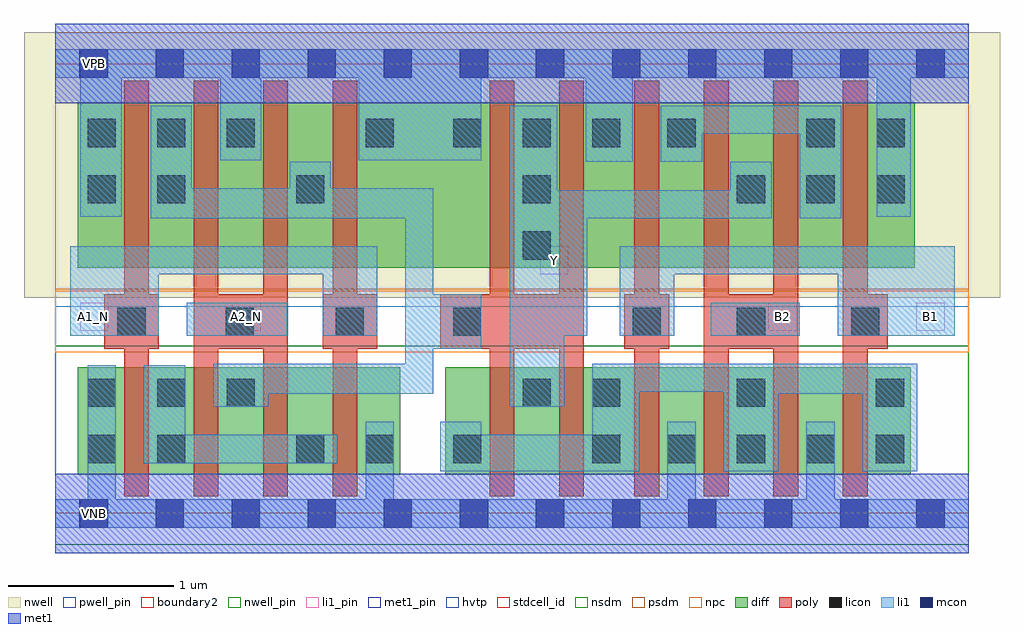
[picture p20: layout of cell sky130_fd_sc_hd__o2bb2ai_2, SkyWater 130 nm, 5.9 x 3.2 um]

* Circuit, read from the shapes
.subckt sky130_fd_sc_hd__o2bb2ai_2 A1_N A2_N B1 B2 VGND VNB VPB VPWR Y
XM1 n1 A1_N VGND VNB sky130_fd_pr__nfet_01v8 w=0.65 l=0.15 m=2
XM2 n2 A2_N n1 VNB sky130_fd_pr__nfet_01v8 w=0.65 l=0.15 m=2
XM3 Y n2 n3 VNB sky130_fd_pr__nfet_01v8 w=0.65 l=0.15 m=2
XM4 VGND B1 n3 VNB sky130_fd_pr__nfet_01v8 w=0.65 l=0.15 m=2
XM5 n3 B2 VGND VNB sky130_fd_pr__nfet_01v8 w=0.65 l=0.15 m=2
XM6 n2 A1_N VPWR VPB sky130_fd_pr__pfet_01v8_hvt w=1 l=0.15 m=2
XM7 VPWR A2_N n2 VPB sky130_fd_pr__pfet_01v8_hvt w=1 l=0.15 m=2
XM8 Y n2 VPWR VPB sky130_fd_pr__pfet_01v8_hvt w=1 l=0.15 m=2
XM9 n4 B1 VPWR VPB sky130_fd_pr__pfet_01v8_hvt w=1 l=0.15 m=2
XM10 Y B2 n4 VPB sky130_fd_pr__pfet_01v8_hvt w=1 l=0.15 m=2
.ends

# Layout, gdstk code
import gdstk
lib = gdstk.Library(unit=1e-6, precision=1e-09)
def R(c, l, rs):  # rectangles x0, y0, x1, y1
    for r in rs: c.add(gdstk.rectangle(r[:2], r[2:], *l))
def A(c, l, x, y, w, h, nx, ny, dx, dy):  # array of equal rectangles
    R(c, l, [(x+i*dx, y+j*dy, x+i*dx+w, y+j*dy+h) for i in range(nx) for j in range(ny)])
def P(c, l, *ps):  # polygons
    for p in ps: c.add(gdstk.Polygon(p, *l))
nwell_pin = (64, 16)
nwell = (64, 20)
diff = (65, 20)
poly = (66, 20)
licon = (66, 44)
li1_pin = (67, 16)
li1 = (67, 20)
mcon = (67, 44)
met1_pin = (68, 16)
met1 = (68, 20)
hvtp = (78, 44)
stdcell_id = (81, 4)
nsdm = (93, 44)
psdm = (94, 20)
npc = (95, 20)
pwell_pin = (122, 16)
boundary2 = (236, 0)

sky130_fd_sc_hd__o2bb2ai = lib.new_cell('sky130_fd_sc_hd__o2bb2ai_2')
R(sky130_fd_sc_hd__o2bb2ai, nwell_pin, [(0.15,2.635,0.32,2.805)])
R(sky130_fd_sc_hd__o2bb2ai, nwell, [(-0.19,1.305,5.71,2.91)])
R(sky130_fd_sc_hd__o2bb2ai, diff, [(0.135,0.235,2.085,0.885), (2.355,0.235,5.17,0.885), (0.135,1.485,5.195,2.485)])
P(sky130_fd_sc_hd__o2bb2ai, poly, [(4.49,2.615),(4.34,2.615),(4.34,1.325),(4.07,1.325),(4.07,2.615),(3.92,2.615),(3.92,0.105),(4.07,0.105),(4.07,0.995),(4.34,0.995),(4.34,0.105),(4.49,0.105)],
  [(5.03,1.325),(4.91,1.325),(4.91,2.615),(4.76,2.615),(4.76,0.105),(4.91,0.105),(4.91,0.995),(5.03,0.995)],
  [(0.625,1.325),(0.565,1.325),(0.565,2.615),(0.415,2.615),(0.415,1.325),(0.295,1.325),(0.295,0.995),(0.415,0.995),(0.415,0.105),(0.565,0.105),(0.565,0.995),(0.625,0.995)],
  [(3.71,1.325),(3.65,1.325),(3.65,2.615),(3.5,2.615),(3.5,1.325),(3.44,1.325),(3.44,0.995),(3.5,0.995),(3.5,0.105),(3.65,0.105),(3.65,0.995),(3.71,0.995)],
  [(3.195,2.615),(3.045,2.615),(3.045,1.325),(2.775,1.325),(2.775,2.615),(2.625,2.615),(2.625,1.325),(2.325,1.325),(2.325,0.995),(2.625,0.995),(2.625,0.105),(2.775,0.105),(2.775,0.995),(3.045,0.995),(3.045,0.105),(3.195,0.105)],
  [(1.945,1.325),(1.825,1.325),(1.825,2.615),(1.675,2.615),(1.675,1.325),(1.615,1.325),(1.615,0.995),(1.675,0.995),(1.675,0.105),(1.825,0.105),(1.825,0.995),(1.945,0.995)],
  [(1.405,2.615),(1.255,2.615),(1.255,1.325),(0.985,1.325),(0.985,2.615),(0.835,2.615),(0.835,0.105),(0.985,0.105),(0.985,0.995),(1.255,0.995),(1.255,0.105),(1.405,0.105)])
A(sky130_fd_sc_hd__o2bb2ai, licon, 3.7, 0.305, 0.17, 0.17, 4, 1, 0.42, 0)
A(sky130_fd_sc_hd__o2bb2ai, licon, 0.195, 0.645, 0.17, 0.17, 3, 2, 0.42, 1.57)
A(sky130_fd_sc_hd__o2bb2ai, licon, 2.405, 2.215, 0.17, 0.17, 3, 1, 0.42, 0)
R(sky130_fd_sc_hd__o2bb2ai, licon, [(0.195,0.305,0.365,0.475), (0.615,0.305,0.785,0.475), (1.455,0.305,1.625,0.475), (1.875,0.305,2.045,0.475), (2.405,0.305,2.575,0.475), (3.245,0.305,3.415,0.475), (2.825,0.645,2.995,0.815), (3.245,0.645,3.415,0.815), (4.12,0.645,4.29,0.815), (4.96,0.645,5.13,0.815), (0.375,1.075,0.545,1.245), (1.03,1.075,1.2,1.245), (1.695,1.075,1.865,1.245), (2.405,1.075,2.575,1.245), (3.49,1.075,3.66,1.245), (4.12,1.075,4.29,1.245), (4.81,1.075,4.98,1.245), (2.825,1.535,2.995,1.705), (0.195,1.875,0.365,2.045), (0.615,1.875,0.785,2.045), (1.455,1.875,1.625,2.045), (2.825,1.875,2.995,2.045), (4.12,1.875,4.29,2.045), (4.54,1.875,4.71,2.045), (4.965,1.875,5.135,2.045), (1.875,2.215,2.045,2.385), (3.7,2.215,3.87,2.385), (4.54,2.215,4.71,2.385), (4.965,2.215,5.135,2.385)])
R(sky130_fd_sc_hd__o2bb2ai, li1_pin, [(0.15,1.105,0.32,1.275), (1.07,1.105,1.24,1.275), (4.31,1.105,4.48,1.275), (5.205,1.105,5.375,1.275), (2.93,1.445,3.1,1.615)])
R(sky130_fd_sc_hd__o2bb2ai, li1, [(0.795,1.075,1.4,1.275), (3.96,1.075,4.5,1.275)])
P(sky130_fd_sc_hd__o2bb2ai, li1, [(1.705,0.475),(0.785,0.475),(0.785,0.895),(0.535,0.895),(0.535,0.305),(1.705,0.305)],
  [(5.52,0.085),(4.71,0.085),(4.71,0.555),(4.54,0.555),(4.54,0.085),(3.87,0.085),(3.87,0.555),(3.7,0.555),(3.7,0.085),(2.045,0.085),(2.045,0.555),(1.875,0.555),(1.875,0.085),(0.365,0.085),(0.365,0.895),(0.195,0.895),(0.195,0.085),(0,0.085),(0,-0.085),(5.52,-0.085)],
  [(5.52,2.805),(0,2.805),(0,2.635),(0.15,2.635),(0.15,1.795),(0.4,1.795),(0.4,2.635),(0.995,2.635),(0.995,2.135),(1.245,2.135),(1.245,2.635),(1.835,2.635),(1.835,2.135),(2.575,2.135),(2.575,2.635),(3.205,2.635),(3.205,2.125),(3.49,2.125),(3.49,2.635),(4.965,2.635),(4.965,1.795),(5.17,1.795),(5.17,2.635),(5.52,2.635)],
  [(5.435,1.615),(3.41,1.615),(3.41,1.075),(3.74,1.075),(3.74,1.445),(4.73,1.445),(4.73,1.075),(5.435,1.075)],
  [(5.21,0.905),(3.245,0.905),(3.245,0.475),(2.575,0.475),(2.575,0.555),(2.325,0.555),(2.325,0.255),(3.53,0.255),(3.53,0.735),(4.04,0.735),(4.04,0.255),(4.37,0.255),(4.37,0.725),(4.88,0.725),(4.88,0.255),(5.21,0.255)],
  [(4.75,2.465),(3.66,2.465),(3.66,2.125),(3.91,2.125),(3.91,2.295),(4.5,2.295),(4.5,1.785),(4.75,1.785)],
  [(4.33,2.125),(4.08,2.125),(4.08,1.955),(3.035,1.955),(3.035,2.465),(2.745,2.465),(2.745,0.645),(3.075,0.645),(3.075,1.075),(3.215,1.075),(3.215,1.785),(4.33,1.785)],
  [(2.575,1.325),(2.285,1.325),(2.285,1.965),(1.665,1.965),(1.665,2.125),(1.415,2.125),(1.415,1.965),(0.825,1.965),(0.825,2.465),(0.575,2.465),(0.575,1.785),(2.115,1.785),(2.115,0.905),(0.955,0.905),(0.955,0.645),(1.285,0.645),(1.285,0.725),(2.285,0.725),(2.285,0.995),(2.575,0.995)],
  [(1.945,1.615),(0.09,1.615),(0.09,1.075),(0.625,1.075),(0.625,1.445),(1.615,1.445),(1.615,1.075),(1.945,1.075)])
A(sky130_fd_sc_hd__o2bb2ai, mcon, 0.145, -0.085, 0.17, 0.17, 12, 2, 0.46, 2.72)
R(sky130_fd_sc_hd__o2bb2ai, met1_pin, [(0.15,-0.085,0.32,0.085), (0.15,2.635,0.32,2.805)])
R(sky130_fd_sc_hd__o2bb2ai, hvtp, [(0,1.25,5.52,2.72)])
R(sky130_fd_sc_hd__o2bb2ai, stdcell_id, [(0,0,5.52,2.72)])
R(sky130_fd_sc_hd__o2bb2ai, nsdm, [(0,-0.19,5.52,1.015)])
R(sky130_fd_sc_hd__o2bb2ai, psdm, [(0,1.355,5.52,2.91)])
R(sky130_fd_sc_hd__o2bb2ai, npc, [(0,0.975,5.52,1.345)])
R(sky130_fd_sc_hd__o2bb2ai, pwell_pin, [(0.15,-0.085,0.32,0.085)])
R(sky130_fd_sc_hd__o2bb2ai, boundary2, [(0,0,5.52,2.72)])
sky130_fd_sc_hd__o2bb2ai.add(gdstk.FlexPath([(0,2.72),(5.52,2.72)], 0.48, ends="flush", simple_path=True, layer=68, datatype=20))  # met1
sky130_fd_sc_hd__o2bb2ai.add(gdstk.FlexPath([(0,0),(5.52,0)], 0.48, ends="flush", simple_path=True, layer=68, datatype=20))  # met1
sky130_fd_sc_hd__o2bb2ai.add(gdstk.Label('B2', (4.395,1.19), layer=67, texttype=5))
sky130_fd_sc_hd__o2bb2ai.add(gdstk.Label('Y', (3.015,1.53), layer=67, texttype=5))
sky130_fd_sc_hd__o2bb2ai.add(gdstk.Label('A1_N', (0.23,1.19), layer=67, texttype=5))
sky130_fd_sc_hd__o2bb2ai.add(gdstk.Label('A2_N', (1.155,1.19), layer=67, texttype=5))
sky130_fd_sc_hd__o2bb2ai.add(gdstk.Label('B1', (5.29,1.19), layer=67, texttype=5))
sky130_fd_sc_hd__o2bb2ai.add(gdstk.Label('VNB', (0.235,0), layer=64, texttype=59))
sky130_fd_sc_hd__o2bb2ai.add(gdstk.Label('VPB', (0.235,2.72), layer=64, texttype=5))
sky130_fd_sc_hd__o2bb2ai.add(gdstk.Label('VGND', (0.23,0), layer=68, texttype=5))
sky130_fd_sc_hd__o2bb2ai.add(gdstk.Label('VPWR', (0.23,2.72), layer=68, texttype=5))
sky130_fd_sc_hd__o2bb2ai.add(gdstk.Label('o2bb2ai_2', (0,0), layer=83, texttype=44))

lib.write_gds('sky130_fd_sc_hd__o2bb2ai_2.gds')
